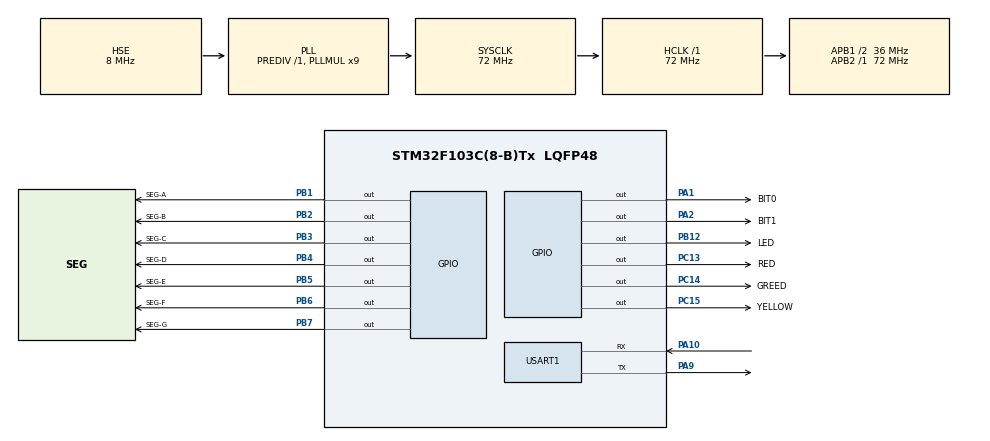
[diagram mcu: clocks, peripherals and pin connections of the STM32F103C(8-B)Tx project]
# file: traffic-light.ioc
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Mcu.Family=STM32F1
Mcu.Name=STM32F103C(8-B)Tx
Mcu.Package=LQFP48
NVIC.PriorityGroup=NVIC_PRIORITYGROUP_2
NVIC.TIM2_IRQn=true\:1\:1\:true\:false\:true\:true\:true
NVIC.USART1_IRQn=true\:0\:0\:false\:false\:true\:true\:true
PA1.GPIO_Label=BIT0
PA1.GPIO_ModeDefaultOutputPP=GPIO_MODE_OUTPUT_PP
PA1.PinState=GPIO_PIN_SET
PA1.Signal=GPIO_Output
PA10.Mode=Asynchronous
PA10.Signal=USART1_RX
PA13.Mode=Serial_Wire
PA13.Signal=SYS_JTMS-SWDIO
PA14.Mode=Serial_Wire
PA14.Signal=SYS_JTCK-SWCLK
PA2.GPIO_Label=BIT1
PA2.PinState=GPIO_PIN_SET
PA2.Signal=GPIO_Output
PA4.Signal=SPI1_NSS
PA5.Signal=SPI1_SCK
PA6.Signal=SPI1_MISO
PA7.Signal=SPI1_MOSI
PA9.Mode=Asynchronous
PA9.Signal=USART1_TX
PB1.GPIO_Label=SEG-A
PB1.PinState=GPIO_PIN_SET
PB1.Signal=GPIO_Output
PB12.GPIO_Label=LED
PB12.PinState=GPIO_PIN_SET
PB12.Signal=GPIO_Output
PB2.GPIO_Label=SEG-B
PB2.PinState=GPIO_PIN_SET
PB2.Signal=GPIO_Output
PB3.GPIO_Label=SEG-C
PB3.PinState=GPIO_PIN_SET
PB3.Signal=GPIO_Output
PB4.GPIO_Label=SEG-D
PB4.PinState=GPIO_PIN_SET
PB4.Signal=GPIO_Output
PB5.GPIO_Label=SEG-E
PB5.PinState=GPIO_PIN_SET
PB5.Signal=GPIO_Output
PB6.GPIO_Label=SEG-F
PB6.PinState=GPIO_PIN_SET
PB6.Signal=GPIO_Output
PB7.GPIO_Label=SEG-G
PB7.PinState=GPIO_PIN_SET
PB7.Signal=GPIO_Output
PC13-TAMPER-RTC.GPIO_Label=RED
PC13-TAMPER-RTC.PinState=GPIO_PIN_SET
PC13-TAMPER-RTC.Signal=GPIO_Output
PC14-OSC32_IN.GPIO_Label=GREED
PC14-OSC32_IN.PinState=GPIO_PIN_SET
PC14-OSC32_IN.Signal=GPIO_Output
PC15-OSC32_OUT.GPIO_Label=YELLOW
PC15-OSC32_OUT.PinState=GPIO_PIN_SET
PC15-OSC32_OUT.Signal=GPIO_Output
PD0-OSC_IN.Mode=HSE-External-Oscillator
PD0-OSC_IN.Signal=RCC_OSC_IN
PD1-OSC_OUT.Mode=HSE-External-Oscillator
PD1-OSC_OUT.Signal=RCC_OSC_OUT
ProjectManager.HeapSize=0x200
ProjectManager.StackSize=0x400
ProjectManager.TargetToolchain=MDK-ARM V5
RCC.AHBFreq_Value=72000000
RCC.APB1CLKDivider=RCC_HCLK_DIV2
RCC.APB1Freq_Value=36000000
RCC.APB1TimFreq_Value=72000000
RCC.APB2Freq_Value=72000000
RCC.APB2TimFreq_Value=72000000
RCC.HCLKFreq_Value=72000000
RCC.PLLMUL=RCC_PLL_MUL9
RCC.PLLSourceVirtual=RCC_PLLSOURCE_HSE
RCC.SYSCLKFreq_VALUE=72000000
RCC.SYSCLKSource=RCC_SYSCLKSOURCE_PLLCLK
RCC.USBFreq_Value=72000000
TIM2.Period=999
TIM2.Prescaler=71
USART1.VirtualMode=VM_ASYNC
VP_TIM2_VS_ClockSourceINT.Mode=Internal
board=custom

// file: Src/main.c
/* USER CODE BEGIN Header */
/**
  ******************************************************************************
  * @file           : main.c
  * @brief          : Main program body
  ******************************************************************************
  * @attention
  *
  * <h2><center>&copy; Copyright (c) 2020 STMicroelectronics.
  * All rights reserved.</center></h2>
  *
  * This software component is licensed by ST under BSD 3-Clause license,
  * the "License"; You may not use this file except in compliance with the
  * License. You may obtain a copy of the License at:
  *                        opensource.org/licenses/BSD-3-Clause
  *
  ******************************************************************************
  */
/* USER CODE END Header */

#include "main.h"
#include "tim.h"
#include "usart.h"
#include "gpio.h"

/* USER CODE BEGIN PD */
#define RXBUFFERSIZE  256     //最大接收字节数

/* USER CODE END PD */

void SystemClock_Config(void);

/* USER CODE BEGIN 0 */
void SEG_ZERO(void);
void SEG_ONE(void);
void SEG_TWE(void);
void SEG_THREE(void);
void SEG_FORT(void);
void SEG_FIRE(void);
void SEG_SIXC(void);
void SEG_SEVEN(void);
void SEG_EIGHT(void);
void SEG_NINE(void);
void SEG_OFF(void);
void Display(uint8_t xbit,uint8_t num);
void Traffic_Dis(uint8_t collow);  //0-red,1-yellow,2-greed
void Traffic_Dis_off(void);

uint8_t rxtext[5];
uint8_t txtext[5];
uint8_t aRxBuffer;					//接收中断缓冲
uint8_t Uart1_Rx_Cnt = 0;		//接收缓冲计数
char RxBuffer[RXBUFFERSIZE];   //接收数据
uint8_t tchi;
uint16_t tnum;
uint8_t txbuff[] = "off";
/* USER CODE END 0 */

int main(void)
{

  /* MCU Configuration--------------------------------------------------------*/

  /* Reset of all peripherals, Initializes the Flash interface and the Systick. */
  HAL_Init();

  /* Configure the system clock */
  SystemClock_Config();

  /* Initialize all configured peripherals */
  MX_GPIO_Init();
  MX_TIM2_Init();
  MX_USART1_UART_Init();
  /* USER CODE BEGIN 2 */
	HAL_TIM_Base_Start_IT(&htim2); //启动定时器2中断
	HAL_UART_Receive_IT(&huart1,(uint8_t *)&aRxBuffer,1);			// Enable the USART1 Interrupt
  /* USER CODE END 2 */

  /* Infinite loop */
  /* USER CODE BEGIN WHILE */
	tnum=0;
	Traffic_Dis_off();
  while (1)
  {
    /* USER CODE END WHILE */

    /* USER CODE BEGIN 3 */
		Traffic_Dis(tchi);
		Display(0,tnum%10);
		Display(1,tnum/10);
  }
  /* USER CODE END 3 */
}

void SystemClock_Config(void)
{
  RCC_OscInitTypeDef RCC_OscInitStruct = {0};
  RCC_ClkInitTypeDef RCC_ClkInitStruct = {0};

  /** Initializes the CPU, AHB and APB busses clocks
  */
  RCC_OscInitStruct.OscillatorType = RCC_OSCILLATORTYPE_HSE;
  RCC_OscInitStruct.HSEState = RCC_HSE_ON;
  RCC_OscInitStruct.HSEPredivValue = RCC_HSE_PREDIV_DIV1;
  RCC_OscInitStruct.HSIState = RCC_HSI_ON;
  RCC_OscInitStruct.PLL.PLLState = RCC_PLL_ON;
  RCC_OscInitStruct.PLL.PLLSource = RCC_PLLSOURCE_HSE;
  RCC_OscInitStruct.PLL.PLLMUL = RCC_PLL_MUL9;
  if (HAL_RCC_OscConfig(&RCC_OscInitStruct) != HAL_OK)
  {
    Error_Handler();
  }
  /** Initializes the CPU, AHB and APB busses clocks
  */
  RCC_ClkInitStruct.ClockType = RCC_CLOCKTYPE_HCLK|RCC_CLOCKTYPE_SYSCLK
                              |RCC_CLOCKTYPE_PCLK1|RCC_CLOCKTYPE_PCLK2;
  RCC_ClkInitStruct.SYSCLKSource = RCC_SYSCLKSOURCE_PLLCLK;
  RCC_ClkInitStruct.AHBCLKDivider = RCC_SYSCLK_DIV1;
  RCC_ClkInitStruct.APB1CLKDivider = RCC_HCLK_DIV2;
  RCC_ClkInitStruct.APB2CLKDivider = RCC_HCLK_DIV1;

  if (HAL_RCC_ClockConfig(&RCC_ClkInitStruct, FLASH_LATENCY_2) != HAL_OK)
  {
    Error_Handler();
  }
}

/* USER CODE BEGIN 4 */
void HAL_TIM_PeriodElapsedCallback(TIM_HandleTypeDef *htim)
{
	if (htim->Instance == htim2.Instance)
		{
			static uint8_t b=0;
			static uint16_t a=0;
			a++;
			if(a==1000-1)
			{
				if(tnum!=0)
				{
					tnum=tnum-1;
					HAL_UART_Transmit_IT(&huart1,(uint8_t*)tnum,10);
				}
				if(tnum == 1)
				{
					HAL_UART_Transmit_IT(&huart1,(uint8_t*)txbuff,10);
				}
				if(b==0)
				{
					HAL_GPIO_WritePin(GPIOB,LED_Pin,GPIO_PIN_RESET);
				}
				else
				{
					HAL_GPIO_WritePin(GPIOB,LED_Pin,GPIO_PIN_SET);
				}
				b=!b;
				a=0;
			}
		}
}

void HAL_UART_RxCpltCallback(UART_HandleTypeDef *huart)
{
	if (huart->Instance == huart1.Instance)
	{
		if(Uart1_Rx_Cnt >= 255)  //溢出判断
		{
			Uart1_Rx_Cnt = 0;
			memset(RxBuffer,0x00,sizeof(RxBuffer)); //清空数组
			HAL_UART_Transmit(&huart1, (uint8_t *)"数据溢出", 10,0xFFFF);
		}
		else
		{
			RxBuffer[Uart1_Rx_Cnt++] = aRxBuffer;   //接收数据转存
			if((RxBuffer[Uart1_Rx_Cnt-1] == 0x0A)&&(RxBuffer[Uart1_Rx_Cnt-2] == 0x0D)) //判断结束位
			{
				tnum=(atoi(RxBuffer))%10;
				//tnum=(RxBuffer[1]*10)+RxBuffer[2];
				tchi=RxBuffer[2];
//				int i,j;
//				j=0;
//				for(i=0;RxBuffer[i]!='\0';i++)
//				{
//					if(RxBuffer[i]>='0' && RxBuffer[i]<='9')
//					{
//						txtext[j]=txtext[i]-'0';
//						j++;
//					}
//				}
//				HAL_UART_Transmit(&huart1, (uint8_t *)&RxBuffer, Uart1_Rx_Cnt,0xFFFF); //将收到的信息发送出去
//				while(HAL_UART_GetState(&huart1) == HAL_UART_STATE_BUSY_TX)//检测UART发送结束

				Uart1_Rx_Cnt = 0;
				memset(RxBuffer,0x00,sizeof(RxBuffer)); //清空数组
			}
		}
		HAL_UART_Receive_IT(&huart1, (uint8_t *)&aRxBuffer, 1);   //再开启接收中断
	}
}

void SEG_ZERO() //0
{
	HAL_GPIO_WritePin(GPIOB,SEG_A_Pin,GPIO_PIN_RESET);
	HAL_GPIO_WritePin(GPIOB,SEG_B_Pin,GPIO_PIN_RESET);
	HAL_GPIO_WritePin(GPIOB,SEG_C_Pin,GPIO_PIN_RESET);
	HAL_GPIO_WritePin(GPIOB,SEG_D_Pin,GPIO_PIN_RESET);
	HAL_GPIO_WritePin(GPIOB,SEG_E_Pin,GPIO_PIN_RESET);
	HAL_GPIO_WritePin(GPIOB,SEG_F_Pin,GPIO_PIN_RESET);
}

void SEG_ONE()  //1
{
	HAL_GPIO_WritePin(GPIOB,SEG_B_Pin,GPIO_PIN_RESET);
	HAL_GPIO_WritePin(GPIOB,SEG_C_Pin,GPIO_PIN_RESET);
}
void SEG_TWE()  //2
{
	HAL_GPIO_WritePin(GPIOB,SEG_A_Pin,GPIO_PIN_RESET);
	HAL_GPIO_WritePin(GPIOB,SEG_B_Pin,GPIO_PIN_RESET);
	HAL_GPIO_WritePin(GPIOB,SEG_G_Pin,GPIO_PIN_RESET);
	HAL_GPIO_WritePin(GPIOB,SEG_E_Pin,GPIO_PIN_RESET);
	HAL_GPIO_WritePin(GPIOB,SEG_D_Pin,GPIO_PIN_RESET);
}

void SEG_THREE()  //3
{
	HAL_GPIO_WritePin(GPIOB,SEG_A_Pin,GPIO_PIN_RESET);
	HAL_GPIO_WritePin(GPIOB,SEG_B_Pin,GPIO_PIN_RESET);
	HAL_GPIO_WritePin(GPIOB,SEG_C_Pin,GPIO_PIN_RESET);
	HAL_GPIO_WritePin(GPIOB,SEG_D_Pin,GPIO_PIN_RESET);
	HAL_GPIO_WritePin(GPIOB,SEG_G_Pin,GPIO_PIN_RESET);
}

void SEG_FORT()  //4
{
	HAL_GPIO_WritePin(GPIOB,SEG_B_Pin,GPIO_PIN_RESET);
	HAL_GPIO_WritePin(GPIOB,SEG_C_Pin,GPIO_PIN_RESET);
	HAL_GPIO_WritePin(GPIOB,SEG_G_Pin,GPIO_PIN_RESET);
	HAL_GPIO_WritePin(GPIOB,SEG_F_Pin,GPIO_PIN_RESET);
}

void SEG_FIRE()  //5
{
	HAL_GPIO_WritePin(GPIOB,SEG_A_Pin,GPIO_PIN_RESET);
	HAL_GPIO_WritePin(GPIOB,SEG_F_Pin,GPIO_PIN_RESET);
	HAL_GPIO_WritePin(GPIOB,SEG_G_Pin,GPIO_PIN_RESET);
	HAL_GPIO_WritePin(GPIOB,SEG_C_Pin,GPIO_PIN_RESET);
	HAL_GPIO_WritePin(GPIOB,SEG_D_Pin,GPIO_PIN_RESET);
}

void SEG_SIXC()  //6
{
	HAL_GPIO_WritePin(GPIOB,SEG_A_Pin,GPIO_PIN_RESET);
	HAL_GPIO_WritePin(GPIOB,SEG_F_Pin,GPIO_PIN_RESET);
	HAL_GPIO_WritePin(GPIOB,SEG_C_Pin,GPIO_PIN_RESET);
	HAL_GPIO_WritePin(GPIOB,SEG_D_Pin,GPIO_PIN_RESET);
	HAL_GPIO_WritePin(GPIOB,SEG_E_Pin,GPIO_PIN_RESET);
	HAL_GPIO_WritePin(GPIOB,SEG_G_Pin,GPIO_PIN_RESET);
}

void SEG_SEVEN()  //7
{
	HAL_GPIO_WritePin(GPIOB,SEG_A_Pin,GPIO_PIN_RESET);
	HAL_GPIO_WritePin(GPIOB,SEG_B_Pin,GPIO_PIN_RESET);
	HAL_GPIO_WritePin(GPIOB,SEG_C_Pin,GPIO_PIN_RESET);
}

void SEG_EIGHT()  //8
{
	HAL_GPIO_WritePin(GPIOB,SEG_A_Pin,GPIO_PIN_RESET);
	HAL_GPIO_WritePin(GPIOB,SEG_B_Pin,GPIO_PIN_RESET);
	HAL_GPIO_WritePin(GPIOB,SEG_C_Pin,GPIO_PIN_RESET);
	HAL_GPIO_WritePin(GPIOB,SEG_D_Pin,GPIO_PIN_RESET);
	HAL_GPIO_WritePin(GPIOB,SEG_E_Pin,GPIO_PIN_RESET);
	HAL_GPIO_WritePin(GPIOB,SEG_F_Pin,GPIO_PIN_RESET);
	HAL_GPIO_WritePin(GPIOB,SEG_G_Pin,GPIO_PIN_RESET);
}

void SEG_NINE()  //9
{
	HAL_GPIO_WritePin(GPIOB,SEG_A_Pin,GPIO_PIN_RESET);
	HAL_GPIO_WritePin(GPIOB,SEG_B_Pin,GPIO_PIN_RESET);
	HAL_GPIO_WritePin(GPIOB,SEG_C_Pin,GPIO_PIN_RESET);
	HAL_GPIO_WritePin(GPIOB,SEG_D_Pin,GPIO_PIN_RESET);
	HAL_GPIO_WritePin(GPIOB,SEG_F_Pin,GPIO_PIN_RESET);
	HAL_GPIO_WritePin(GPIOB,SEG_G_Pin,GPIO_PIN_RESET);
}

void SEG_OFF()  //OFF
{
	HAL_GPIO_WritePin(GPIOB,SEG_A_Pin,GPIO_PIN_SET);
	HAL_GPIO_WritePin(GPIOB,SEG_B_Pin,GPIO_PIN_SET);
	HAL_GPIO_WritePin(GPIOB,SEG_C_Pin,GPIO_PIN_SET);
	HAL_GPIO_WritePin(GPIOB,SEG_D_Pin,GPIO_PIN_SET);
	HAL_GPIO_WritePin(GPIOB,SEG_E_Pin,GPIO_PIN_SET);
	HAL_GPIO_WritePin(GPIOB,SEG_F_Pin,GPIO_PIN_SET);
	HAL_GPIO_WritePin(GPIOB,SEG_G_Pin,GPIO_PIN_SET);
}

void Display(uint8_t xbit,uint8_t num)
{
	HAL_GPIO_WritePin(GPIOB,BIT0_Pin,GPIO_PIN_SET);
	HAL_GPIO_WritePin(GPIOB,BIT1_Pin,GPIO_PIN_SET);
	if(xbit == 0) HAL_GPIO_WritePin(GPIOA,BIT0_Pin,GPIO_PIN_RESET);
	else if(xbit == 1) HAL_GPIO_WritePin(GPIOA,BIT1_Pin,GPIO_PIN_RESET);
	switch(num)
	{
		case 0:
			SEG_ZERO();
      break;
		case 1:
			SEG_ONE();
      break;
		case 2:
			SEG_TWE();
      break;
		case 3:
			SEG_THREE();
      break;
		case 4:
			SEG_FORT();
      break;
		case 5:
			SEG_FIRE();
      break;
		case 6:
			SEG_SIXC();
      break;
		case 7:
			SEG_SEVEN();
      break;
		case 8:
			SEG_EIGHT();
      break;
		case 9:
			SEG_NINE();
      break;
	}
	HAL_Delay(2);
	SEG_OFF();
}

void Traffic_Dis(uint8_t collow)  //0-red,1-yellow,2-greed
{
	if(collow == 0) HAL_GPIO_WritePin(GPIOC,RED_Pin,GPIO_PIN_RESET);
	else if(collow == 1) HAL_GPIO_WritePin(GPIOC,YELLOW_Pin,GPIO_PIN_RESET);
	else if(collow == 2) HAL_GPIO_WritePin(GPIOC,GREED_Pin,GPIO_PIN_RESET);
}

void Traffic_Dis_off()
{
	HAL_GPIO_WritePin(GPIOC,RED_Pin,GPIO_PIN_SET);
	HAL_GPIO_WritePin(GPIOC,YELLOW_Pin,GPIO_PIN_SET);
	HAL_GPIO_WritePin(GPIOC,GREED_Pin,GPIO_PIN_SET);
}

/* USER CODE END 4 */

void Error_Handler(void)
{
}

/************************ (C) COPYRIGHT STMicroelectronics *****END OF FILE****/
